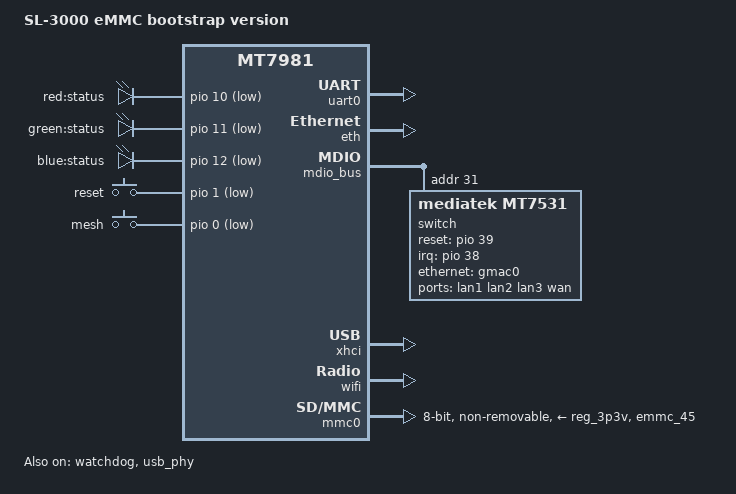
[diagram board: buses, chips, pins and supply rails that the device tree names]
/dts-v1/;
#include "mt7981.dtsi"

/ {
	model = "SL-3000 eMMC bootstrap version";
	compatible = "sl,3000-emmc", "mediatek,mt7981";

	aliases {
		led-boot = &status_red_led;
		led-failsafe = &status_red_led;
		led-running = &status_green_led;
		led-upgrade = &status_blue_led;
		serial0 = &uart0;
	};
	
	chosen {
		stdout-path = "serial0:115200n8";
		bootargs-append = " root=PARTLABEL=rootfs rootwait";
	};
	
        leds {
                compatible = "gpio-leds";

                status_red_led: led-0 {
                        label = "red:status";
                        gpios = <&pio 10 GPIO_ACTIVE_LOW>;
                };

                status_green_led: led-1 {
                        label = "green:status";
                        gpios = <&pio 11 GPIO_ACTIVE_LOW>;
                };

                status_blue_led: led-2 {
                        label = "blue:status";
                        gpios = <&pio 12 GPIO_ACTIVE_LOW>;
		};
	};

	gpio-keys {
		compatible = "gpio-keys";
		reset {
			label = "reset";
			linux,code = <KEY_RESTART>;
			gpios = <&pio 1 GPIO_ACTIVE_LOW>;
		};

		mesh {
			label = "mesh";
			gpios = <&pio 0 GPIO_ACTIVE_LOW>;
			linux,code = <BTN_9>;
			linux,input-type = <EV_SW>;
		};
	};
};

&uart0 {
	status = "okay";
};

&watchdog {
	status = "okay";
};

&eth {
	status = "okay";

	gmac0: mac@0 {
		compatible = "mediatek,eth-mac";
		reg = <0>;
		phy-mode = "2500base-x";

		fixed-link {
			speed = <2500>;
			full-duplex;
			pause;
		};
	};
};

&mdio_bus {
	switch: switch@0 {
		compatible = "mediatek,mt7531";
		reg = <31>;
		reset-gpios = <&pio 39 GPIO_ACTIVE_HIGH>;
		interrupt-controller;
		#interrupt-cells = <1>;
		interrupt-parent = <&pio>;
		interrupts = <38 IRQ_TYPE_LEVEL_HIGH>;
	};
};

&switch {
	ports {
		#address-cells = <1>;
		#size-cells = <0>;

		port@0 {
			reg = <0>;
			label = "lan1";
		};

		port@1 {
			reg = <1>;
			label = "lan2";
		};

		port@2 {
			reg = <2>;
			label = "lan3";
		};

		port@3 {
			reg = <3>;
			label = "wan";
		};

		port@6 {
			reg = <6>;
			ethernet = <&gmac0>;
			phy-mode = "2500base-x";

			fixed-link {
				speed = <2500>;
				full-duplex;
				pause;
			};
		};
	};
};

&usb_phy {
	status = "okay";
};

&xhci {
	status = "okay";
};

&wifi {
	status = "okay";
};

&mmc0 {
	status = "okay";
	pinctrl-names = "default", "state_uhs";
	pinctrl-0 = <&mmc0_pins_default>;
	pinctrl-1 = <&mmc0_pins_uhs>;
	bus-width = <8>;
	max-frequency = <52000000>;
	vmmc-supply = <&reg_3p3v>;
	cap-mmc-highspeed;
	non-removable;
};

&pio {
	mmc0_pins_default: mmc0-pins-default {
		mux {
			function = "flash";
			groups = "emmc_45";
		};
	};
	mmc0_pins_uhs: mmc0-pins-uhs {
		mux {
			function = "flash";
			groups = "emmc_45";
		};
	};
};
